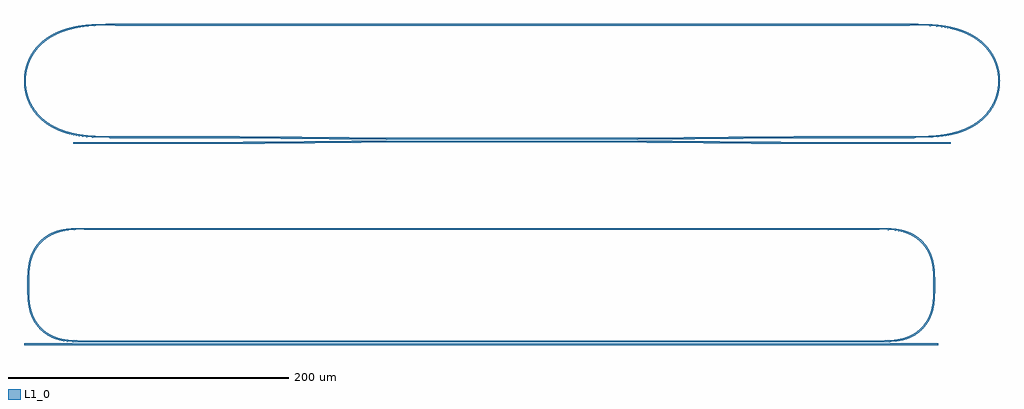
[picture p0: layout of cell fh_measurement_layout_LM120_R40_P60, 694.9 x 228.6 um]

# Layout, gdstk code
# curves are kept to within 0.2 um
from math import pi, radians
import gdstk
lib = gdstk.Library(unit=1e-6, precision=1e-09)
def R(c, l, rs):  # rectangles x0, y0, x1, y1
    for r in rs: c.add(gdstk.rectangle(r[:2], r[2:], *l))
def P(c, l, *ps):  # polygons
    for p in ps: c.add(gdstk.Polygon(p, *l))
L1_0 = (1, 0)

faquad_combiner_k00p05_g = lib.new_cell('faquad_combiner_K00p05_G00p4_DD0p2_LM120_TMD1_WT1p2_NP6_650539e0')
P(faquad_combiner_k00p05_g, L1_0, [(535.878,-2.704),(470.891,-2.542),(369.18,-1.662),(210.961,-1.573),(179.886,-1.664),(87.59,-2.545),(0,-2.7),(0,-1.5),(88.525,-1.357),(195.891,-0.425),(367.3,-0.42),(476.549,-1.357),(565.074,-1.5),(565.074,-2.7)],
  [(215.669,0.4),(179.877,0.503),(86.641,1.367),(0,1.5),(0,2.7),(87.59,2.579),(196.836,1.659),(354.113,1.573),(385.188,1.664),(477.484,2.545),(565.074,2.7),(565.074,1.5),(476.549,1.357),(369.183,0.425)])

bend_euler_gdsfactorypco = lib.new_cell('bend_euler_gdsfactorypcomponentspbendspbend_euler_R40_A_950d9113')
P(bend_euler_gdsfactorypco, L1_0, [(0,-0.6),(0,0.6),(9.787,0.675),(17.315,1.019),(23.605,1.666),(29.487,2.694),(34.108,3.872),(38.771,5.477),(42.801,7.282),(46.779,9.549),(50.613,12.338),(53.951,15.452),(56.866,18.962),(59.229,22.667),(61.183,26.791),(62.595,31.13),(63.422,35.446),(63.713,40),(63.422,44.554),(62.595,48.87),(61.183,53.209),(59.229,57.333),(56.866,61.038),(53.951,64.548),(50.613,67.662),(46.779,70.451),(42.801,72.718),(38.771,74.523),(34.108,76.128),(29.487,77.306),(23.605,78.334),(17.315,78.981),(9.787,79.325),(0,79.4),(0,80.6),(9.298,80.536),(16.713,80.226),(23.081,79.614),(28.892,78.657),(34.615,77.229),(39.536,75.51),(44.269,73.309),(48.301,70.885),(51.241,68.699),(54.092,66.124),(56.443,63.539),(58.638,60.598),(60.53,57.454),(62.101,54.138),(63.335,50.683),(64.186,47.293),(64.731,43.665),(64.913,40),(64.731,36.335),(64.186,32.707),(63.335,29.317),(62.101,25.862),(60.53,22.546),(58.638,19.402),(56.775,16.868),(54.582,14.375),(52.307,12.204),(49.584,10.019),(46.837,8.167),(43.652,6.368),(40.18,4.755),(36.766,3.46),(33.112,2.342),(29.232,1.413),(21.019,0.144),(12.057,-0.46)])

straight_gdsfactorypcomp = lib.new_cell('straight_gdsfactorypcomponentspwaveguidespstraight_L565_370be0be')
R(straight_gdsfactorypcomp, L1_0, [(0,-0.6,565.074,0.6)])

c_straight_gdsfactorypcomp = lib.new_cell('straight_gdsfactorypcomponentspwaveguidespstraight_L30__6c896cef')
R(c_straight_gdsfactorypcomp, L1_0, [(0,-0.6,30,0.6)])

dut_resonator_lm120_r40_ = lib.new_cell('dut_resonator_LM120_R40_BE30_W1p2')
dut_resonator_lm120_r40_.add(gdstk.Reference(faquad_combiner_k00p05_g, (0,0)))
dut_resonator_lm120_r40_.add(gdstk.Reference(bend_euler_gdsfactorypco, (565.074,2.1)))
dut_resonator_lm120_r40_.add(gdstk.Reference(straight_gdsfactorypcomp, (565.074,82.1), rotation=pi))
dut_resonator_lm120_r40_.add(gdstk.Reference(bend_euler_gdsfactorypco, (0,82.1), rotation=pi))
dut_resonator_lm120_r40_.add(gdstk.Reference(c_straight_gdsfactorypcomp, (-30,-2.1)))
dut_resonator_lm120_r40_.add(gdstk.Reference(c_straight_gdsfactorypcomp, (565.074,-2.1)))

coupler_ring_gdsfactoryp = lib.new_cell('coupler_ring_gdsfactorypcomponentspcouplerspcoupler_rin_c74f32d1')
R(coupler_ring_gdsfactoryp, L1_0, [(-608.074,-0.6,43,0.6)])
P(coupler_ring_gdsfactoryp, L1_0, [(-566.277,1.4),(-572.314,1.5),(-576.751,1.821),(-580.766,2.425),(-584.584,3.39),(-588.033,4.702),(-591.203,6.387),(-594.246,8.538),(-596.795,10.865),(-599.048,13.48),(-601.111,16.584),(-602.65,19.673),(-603.919,23.272),(-604.799,27.108),(-605.347,31.264),(-605.608,35.701),(-605.674,42),(-604.474,42),(-604.4,35.473),(-604.088,30.715),(-603.42,26.283),(-602.419,22.474),(-601.224,19.416),(-599.734,16.612),(-597.932,13.997),(-595.749,11.512),(-593.077,9.142),(-590.235,7.204),(-587.296,5.687),(-583.975,4.458),(-580.404,3.577),(-576.359,2.986),(-572.264,2.699),(-566.276,2.6),(1.202,2.6),(9.043,2.798),(12.859,3.173),(16.232,3.763),(19.526,4.655),(22.584,5.85),(25.388,7.34),(28.003,9.142),(30.488,11.325),(32.612,13.686),(34.238,15.939),(35.629,18.345),(36.77,20.872),(37.727,23.729),(38.566,27.447),(39.078,31.373),(39.326,35.473),(39.4,42),(40.6,42),(40.341,32.071),(39.901,28.177),(39.258,24.85),(38.356,21.713),(37.124,18.665),(35.541,15.754),(33.72,13.152),(31.624,10.766),(29.172,8.538),(26.363,6.532),(23.335,4.876),(20.158,3.6),(16.886,2.68),(13.153,2.002),(8.988,1.592),(1.203,1.4)])

c_bend_euler_gdsfactorypco = lib.new_cell('bend_euler_gdsfactorypcomponentspbendspbend_euler_R40_A_6fcd5f2e')
P(c_bend_euler_gdsfactorypco, L1_0, [(0,-0.6),(0,0.6),(6.527,0.674),(11.285,0.986),(15.717,1.654),(19.526,2.655),(22.584,3.85),(25.388,5.34),(28.003,7.142),(30.488,9.325),(32.694,11.789),(34.591,14.499),(36.15,17.416),(37.345,20.474),(38.346,24.283),(39.014,28.715),(39.326,33.473),(39.4,40),(40.6,40),(40.534,33.701),(40.273,29.264),(39.701,24.975),(38.807,21.141),(37.576,17.673),(35.968,14.464),(33.89,11.37),(31.43,8.57),(28.63,6.11),(25.536,4.032),(22.327,2.424),(18.859,1.193),(15.025,0.299),(10.736,-0.273),(6.299,-0.534)])

control_resonator_lm120_ = lib.new_cell('control_resonator_LM120_R40_G0p8_BE30_W1p2')
control_resonator_lm120_.add(gdstk.Reference(coupler_ring_gdsfactoryp, (0,0)))
control_resonator_lm120_.add(gdstk.Reference(c_bend_euler_gdsfactorypco, (-565.074,82), rotation=pi))
control_resonator_lm120_.add(gdstk.Reference(c_bend_euler_gdsfactorypco, (40,42), rotation=pi/2))
control_resonator_lm120_.add(gdstk.Reference(straight_gdsfactorypcomp, (0,82), rotation=pi))

fh_measurement_layout_lm = lib.new_cell('fh_measurement_layout_LM120_R40_P60')
fh_measurement_layout_lm.add(gdstk.Reference(dut_resonator_lm120_r40_, (-543.161,145.304)))
fh_measurement_layout_lm.add(gdstk.Reference(control_resonator_lm120_, (0,0)))

lib.write_gds('fh_measurement_layout_LM120_R40_P60.gds')
